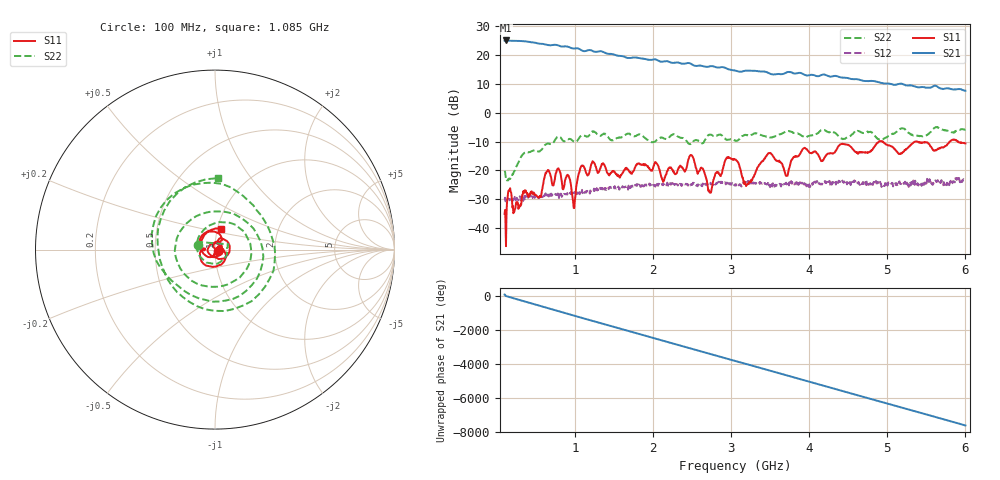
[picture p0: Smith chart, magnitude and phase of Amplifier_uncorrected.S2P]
!Created with skrf (http://scikit-rf.org).
# MHz S RI R 50.0
!freq ReS11 ImS11 ReS21 ImS21 ReS12 ImS12 ReS22 ImS22
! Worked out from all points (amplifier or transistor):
!   1001 points, 100 MHz to 6 GHz, reference 50 ohm
!   highest |S21| = 24.9 dB at 117.7 MHz (marker M1)
!   |S21| within 3 dB of that: start of sweep to 1.061 GHz
!   unconditionally stable (mu >= 1): start of sweep to 1.243 GHz; 1.245 GHz to 1.32 GHz; 1.383 GHz to end of sweep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
!   at 1.079 GHz: K = 1.12, MAG = 22.6 dB, |S12| = -27.9 dB
!   at 3.05 GHz: K = 1.59, MAG = 15.1 dB, |S12| = -24.8 dB
!   at 6 GHz: K = 2.19, MAG = 9.0 dB, |S12| = -22.9 dB
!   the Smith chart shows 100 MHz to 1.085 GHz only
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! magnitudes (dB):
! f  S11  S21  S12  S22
! 100 MHz  -35.0  24.8  -30.0  -20.1
! 117.7 MHz  -46.1  24.9  -30.1  -22.8
! 164.9 MHz  -26.6  24.8  -30.3  -22.9
! 229.8 MHz  -33.6  24.7  -29.1  -20.1
! 353.7 MHz  -27.3  24.6  -30.0  -13.9
! 542.5 MHz  -29.0  23.8  -29.3  -13.4
! 648.7 MHz  -20.2  23.3  -28.3  -10.7
! 914.2 MHz  -21.7  22.6  -27.5  -9.2
! 985 MHz  -32.9  22.1  -27.8  -10.0
! 1.085 GHz  -18.4  21.4  -27.9  -8.0
! 2.071 GHz  -18.6  17.9  -24.6  -9.0
! 2.135 GHz  -23.6  17.6  -24.6  -8.9
! 2.495 GHz  -14.8  16.7  -24.9  -10.6
! 2.731 GHz  -27.6  15.9  -24.7  -7.6
! 2.944 GHz  -15.5  15.2  -24.2  -9.5
! 3.05 GHz  -16.2  14.5  -24.8  -9.6
! 3.197 GHz  -25.0  14.4  -24.0  -7.7
! 3.481 GHz  -14.0  13.6  -24.7  -8.6
! 3.711 GHz  -21.9  13.8  -24.8  -6.4
! 4.035 GHz  -13.9  13.0  -24.9  -7.9
! 5.021 GHz  -11.3  10.0  -24.1  -8.0
! 6 GHz  -10.7  7.5  -22.9  -5.9
